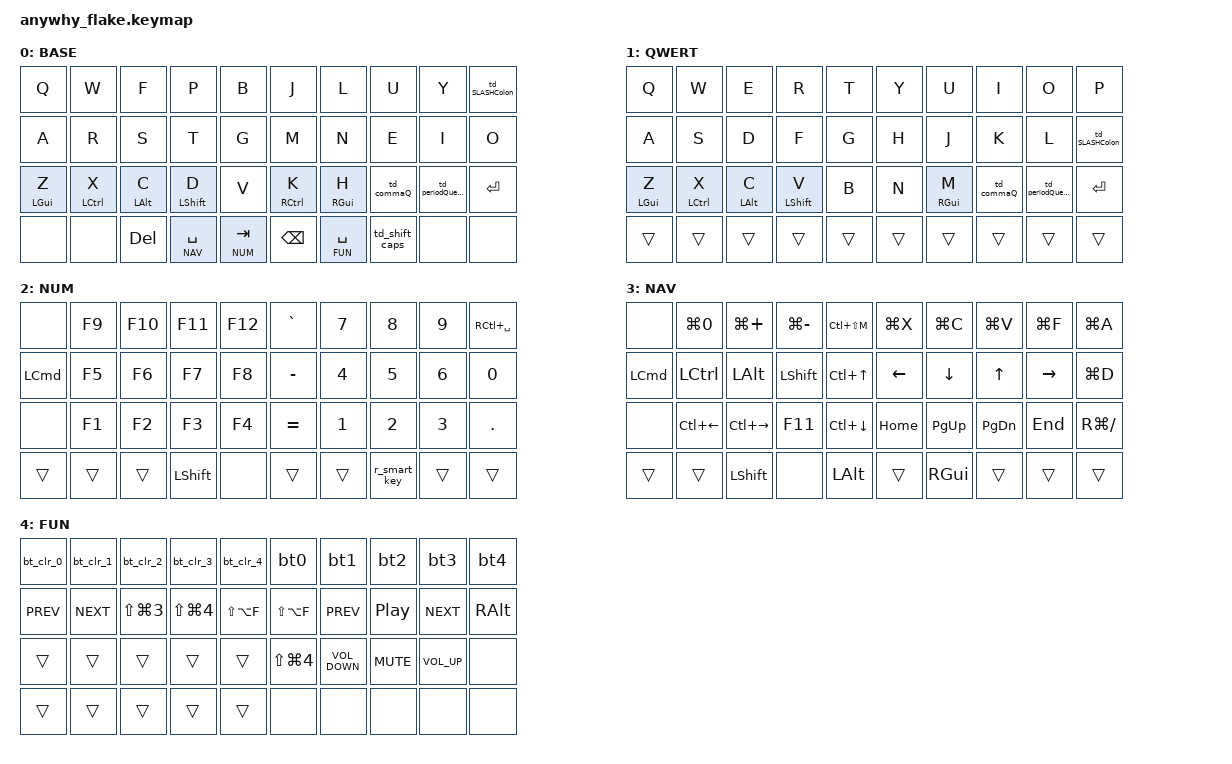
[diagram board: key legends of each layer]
#include <behaviors.dtsi>
#include <dt-bindings/zmk/bt.h>
#include <dt-bindings/zmk/keys.h>

/*                                      58 KEY MATRIX / LAYOUT MAPPING

  ╭────────────────────────────┬────────────────────────────╮ ╭─────────────────────────┬─────────────────────────╮
  │ 12  13  14  15  16  17     │     18  19  20  21  22  23 │ │ LT4 LT3 LT2 LT1 LT0     │     RT0 RT1 RT2 RT3 RT4 │
  │ 24  25  26  27  28  29     │     30  31  32  33  34  35 │ │ LM4 LM3 LM2 LM1 LM0     │     RM0 RM1 RM2 RM3 RM4 │
  │ 36  37  38  39  40  41     │     42  43  44  45  46  47 │ │ LB4 LB3 LB2 LB1 LB0     │     RB0 RB1 RB2 RB3 RB4 │
  ╰───────╮ 48  49  50  51  52 | 53  54  55  56  57 ╭───────╯ ╰ ──╮ LH4 LH3 LH2 LH1 LH0 | RH0 RH1 RH2 RH3 RH4╭─────╯
          ╰────────────────────┴────────────────────╯             ╰─────────────────────┴───────────────────╯            
          
          <0  1  2  3  4  |  5  6  7  8  9 >
        , <10 11 12 13 14 |  15 16 17 18 19>
        , <20 21 22 23 24 |  25 26 27 28 29>
        , <30 31 32 33 34 |  35 36 37 38 39>
                 */

#pragma once

#define LT0  4  // left-top row
#define LT1  3
#define LT2  2
#define LT3  1
#define LT4  0
#define RT0  5  // right-top row
#define RT1  6
#define RT2  7
#define RT3  8
#define RT4  9
#define LM0 14  // left-middle row
#define LM1 13
#define LM2 12
#define LM3 11
#define LM4 10
#define RM0 15  // right-middle row
#define RM1 16
#define RM2 17
#define RM3 18
#define RM4 19
#define LB0 24  // left-bottom row
#define LB1 23
#define LB2 22
#define LB3 21
#define LB4 20
#define RB0 25  // right-bottom row
#define RB1 26
#define RB2 27
#define RB3 28
#define RB4 29
#define LH0 34  // left-thumb row
#define LH1 33
#define LH2 32
#define LH3 31
#define LH4 30
#define RH0 35  // right-thumb row
#define RH1 36
#define RH2 37
#define RH3 38
#define RH4 39
#define XXX &none
#define ___ &trans
#define BASE 0
#define QWERT 1
#define NUM 2
#define NAV 3
#define FUN 4
#define SYM 5

/* ------------------------ general config ----------------------- */

#define QUICK_TAP_MS 175

// smart-layer config

&caps_word {
    // /delete-property/ ignore-modifiers; // mods deactivate, requires PR #1451

    /delete-property/ ignore-numbers;

    continue-list = <BACKSPACE DELETE UNDERSCORE MINUS PLUS N1 ASTERISK SINGLE_QUOTE DOLLAR DOUBLE_QUOTES BACKSLASH SLASH N2 N3 N4 N5 N6 N7 N8 N9 N0>;
};

// key-repeat config

&key_repeat {
    usage-pages = <HID_USAGE_KEY HID_USAGE_CONSUMER>; // repeat all keys
};

// sticky key aka 'one-shot mods'

&sk {
    release-after-ms = <2000>;
    quick-release;
    ignore-modifiers;
};

// soft off

&soft_off {
    hold-time-ms = <5000>; // Only turn off it the key is held for 5 seconds or longer.
};

// default layer-tap config

&lt {
    flavor = "tap-preferred";
    tapping-term-ms = <175>;
    quick-tap-ms = <100>;
    retro-tap;
};

#define KEYS_L LT0 LT1 LT2 LT3 LT4 LM0 LM1 LM2 LM3 LM4 LB0 LB1 LB2 LB3 LB4 // left hand
#define KEYS_R RT0 RT1 RT2 RT3 RT4 RM0 RM1 RM2 RM3 RM4 RB0 RB1 RB2 RB3 RB4 // right hand
#define THUMBS LH4 LH3 LH2 LH1 LH0 RH0 RH1 RH2 RH3 RH4                     // thumbs

// use require-prior-idle-ms for combos

#undef COMBO_HOOK

#define COMBO_TERM_IDLE 80
#define COMBO_TERM_FAST 25
#define COMBO_TERM_SLOW 40

/ {
    combos {
        compatible = "zmk,combos";

        // Left hand vertical combos //
        // Between top and home row

        combo_excl {
            timeout-ms = <COMBO_TERM_SLOW>;
            bindings = <&kp EXCL>;
            key-positions = <13 12>;
            layers = <QWERT BASE NAV NUM>;
            require-prior-idle-ms = <COMBO_TERM_IDLE>;
            slow-release;
        };

        combo_at {
            timeout-ms = <COMBO_TERM_SLOW>;
            bindings = <&kp AT>;
            key-positions = <12 11>;
            layers = <QWERT BASE NAV NUM>;
            require-prior-idle-ms = <COMBO_TERM_IDLE>;
            slow-release;
        };

        combo_hash {
            timeout-ms = <COMBO_TERM_SLOW>;
            bindings = <&kp HASH>;
            key-positions = <2 1>;
            layers = <QWERT BASE NAV NUM>;
            require-prior-idle-ms = <COMBO_TERM_IDLE>;
            slow-release;
        };

        combo_dllr {
            timeout-ms = <COMBO_TERM_SLOW>;
            bindings = <&kp DLLR>;
            key-positions = <3 2>;
            layers = <QWERT BASE NAV NUM>;
            require-prior-idle-ms = <COMBO_TERM_IDLE>;
            slow-release;
        };

        combo_prcnt {
            timeout-ms = <COMBO_TERM_SLOW>;
            bindings = <&kp PRCNT>;
            key-positions = <27 26>;
            layers = <0>;
            require-prior-idle-ms = <COMBO_TERM_IDLE>;
            slow-release;
        };

        combo_squot {
            timeout-ms = <COMBO_TERM_SLOW>;
            bindings = <&quoteQuote>;
            key-positions = <14 13>;
            layers = <0 1>;
            require-prior-idle-ms = <COMBO_TERM_IDLE>;
            slow-release;
        };

        // Between home and bottom row

        combo_grave {
            timeout-ms = <COMBO_TERM_SLOW>;
            bindings = <&reverse_tilde>;
            key-positions = <23 24>;
            layers = <QWERT BASE NAV NUM>;
            require-prior-idle-ms = <COMBO_TERM_IDLE>;
            slow-release;
        };

        combo_bslh {
            timeout-ms = <COMBO_TERM_SLOW>;
            bindings = <&kp BSLH>;
            key-positions = <5 6>;
            layers = <QWERT BASE NAV NUM>;
            require-prior-idle-ms = <COMBO_TERM_IDLE>;
            slow-release;
        };

        combo_equal {
            timeout-ms = <COMBO_TERM_SLOW>;
            bindings = <&kp EQUAL>;
            key-positions = <4 3>;
            layers = <QWERT BASE NAV NUM>;
            require-prior-idle-ms = <COMBO_TERM_IDLE>;
            slow-release;
        };

        combo_tilde {
            timeout-ms = <COMBO_TERM_SLOW>;
            bindings = <&kp TILDE>;
            key-positions = <24 23>;
            layers = <QWERT BASE NAV NUM>;
            require-prior-idle-ms = <COMBO_TERM_IDLE>;
            slow-release;
        };

        // Horizontal combos

        combo_cut {
            timeout-ms = <COMBO_TERM_FAST>;
            bindings = <&kp LG(X)>;
            key-positions = <21 23>;
            layers = <QWERT BASE NAV NUM>;
            require-prior-idle-ms = <COMBO_TERM_IDLE>;
            slow-release;
        };

        combo_paste {
            timeout-ms = <COMBO_TERM_FAST>;
            bindings = <&kp LG(V)>;
            key-positions = <23 22>;
            layers = <QWERT BASE NAV NUM>;
            require-prior-idle-ms = <COMBO_TERM_IDLE>;
            slow-release;
        };

        combo_copy {
            timeout-ms = <COMBO_TERM_FAST>;
            bindings = <&kp LG(C)>;
            key-positions = <21 22>;
            layers = <QWERT BASE NAV NUM>;
            require-prior-idle-ms = <COMBO_TERM_IDLE>;
            slow-release;
        };

        combo_undo {
            timeout-ms = <COMBO_TERM_FAST>;
            bindings = <&kp LG(Z)>;
            key-positions = <20 21>;
            layers = <QWERT BASE NAV NUM>;
            require-prior-idle-ms = <COMBO_TERM_IDLE>;
            slow-release;
        };

        // Right hand vertical combos
        // Between top and home row

        combo_caret {
            timeout-ms = <COMBO_TERM_SLOW>;
            bindings = <&kp CARET>;
            key-positions = <7 6>;
            layers = <2>;
            require-prior-idle-ms = <COMBO_TERM_IDLE>;
            slow-release;
        };

        combo_plus {
            timeout-ms = <COMBO_TERM_SLOW>;
            bindings = <&kp PLUS>;
            key-positions = <16 17>;
            layers = <2>;
            require-prior-idle-ms = <COMBO_TERM_IDLE>;
            slow-release;
        };

        combo_star {
            timeout-ms = <COMBO_TERM_SLOW>;
            bindings = <&kp STAR>;
            key-positions = <26 27>;
            layers = <2>;
            require-prior-idle-ms = <COMBO_TERM_IDLE>;
            slow-release;
        };

        combo_amps {
            timeout-ms = <COMBO_TERM_SLOW>;
            bindings = <&and_or>;
            key-positions = <15 16>;
            layers = <QWERT BASE>;
            require-prior-idle-ms = <COMBO_TERM_IDLE>;
            slow-release;
        };

        // Between home and bottom row

        combo_under {
            timeout-ms = <COMBO_TERM_SLOW>;
            bindings = <&kp MINUS>;
            key-positions = <25 26>;
            layers = <0>;
            require-prior-idle-ms = <COMBO_TERM_IDLE>;
            slow-release;
        };

        combo_minus {
            timeout-ms = <COMBO_TERM_SLOW>;
            bindings = <&kp MINUS>;
            key-positions = <17 18>;
            layers = <2>;
            require-prior-idle-ms = <COMBO_TERM_IDLE>;
            slow-release;
        };

        combo_fslh {
            timeout-ms = <COMBO_TERM_SLOW>;
            bindings = <&kp FSLH>;
            key-positions = <27 28>;
            layers = <2>;
            require-prior-idle-ms = <COMBO_TERM_IDLE>;
            slow-release;
        };

        // Horizontal combos

        combo_lbkt {
            timeout-ms = <COMBO_TERM_FAST>;
            bindings = <&kp LBKT>;
            key-positions = <6 7>;
            layers = <QWERT BASE>;
            require-prior-idle-ms = <COMBO_TERM_IDLE>;
            slow-release;
        };

        combo_rbkt {
            timeout-ms = <COMBO_TERM_FAST>;
            bindings = <&kp RBKT>;
            key-positions = <7 8>;
            layers = <QWERT BASE>;
            require-prior-idle-ms = <COMBO_TERM_IDLE>;
            slow-release;
        };

        combo_lpar {
            timeout-ms = <COMBO_TERM_FAST>;
            bindings = <&kp LPAR>;
            key-positions = <16 17>;
            layers = <QWERT BASE>;
            require-prior-idle-ms = <COMBO_TERM_IDLE>;
            slow-release;
        };

        combo_rpar {
            timeout-ms = <COMBO_TERM_FAST>;
            bindings = <&kp RPAR>;
            key-positions = <17 18>;
            layers = <QWERT BASE>;
            require-prior-idle-ms = <COMBO_TERM_IDLE>;
            slow-release;
        };

        combo_semi {
            timeout-ms = <COMBO_TERM_FAST>;
            bindings = <&kp SEMI>;
            key-positions = <28 27>;
            layers = <0 1>;
            require-prior-idle-ms = <COMBO_TERM_IDLE>;
            slow-release;
        };

        // Horizontal function combos

        combo_esc {
            timeout-ms = <COMBO_TERM_FAST>;
            bindings = <&kp ESC>;
            key-positions = <1 0>;
            layers = <QWERT BASE NAV NUM>;
            require-prior-idle-ms = <COMBO_TERM_IDLE>;
            slow-release;
        };

        // caps word on index fingers

        combo_capsw {
            timeout-ms = <90>;
            bindings = <&caps_word>;
            key-positions = <23 26>;
            layers = <QWERT BASE NAV NUM>;
            require-prior-idle-ms = <COMBO_TERM_IDLE>;
            slow-release;
        };

        bt_clr_r {
            bindings = <&bt BT_CLR_ALL>;
            key-positions = <9 19 29>;
            layers = <FUN>;
            require-prior-idle-ms = <COMBO_TERM_IDLE>;
        };

        bt_clr_l {
            bindings = <&bt BT_CLR_ALL>;
            key-positions = <0 10 20>;
            layers = <FUN>;
            require-prior-idle-ms = <COMBO_TERM_IDLE>;
        };

        bt_c_r {
            bindings = <&bt BT_CLR>;
            key-positions = <8 18 28>;
            layers = <FUN>;
            require-prior-idle-ms = <COMBO_TERM_IDLE>;
        };

        bt_c_l {
            bindings = <&bt BT_CLR>;
            key-positions = <1 11 21>;
            layers = <FUN>;
            require-prior-idle-ms = <COMBO_TERM_IDLE>;
        };
    };

    macros {
        bt_clr_0: bt_clr_0 {
            compatible = "zmk,behavior-macro";
            #binding-cells = <0>;
            bindings = <&bt BT_SEL 0 &bt BT_CLR>;
            display-name = "BT_CLR_0";
        };

        bt_clr_1: bt_clr_1 {
            compatible = "zmk,behavior-macro";
            #binding-cells = <0>;
            bindings = <&bt BT_SEL 1 &bt BT_CLR>;
            display-name = "BT_CLR_1";
        };

        bt_clr_2: bt_clr_2 {
            compatible = "zmk,behavior-macro";
            #binding-cells = <0>;
            bindings = <&bt BT_SEL 2 &bt BT_CLR>;
            display-name = "BT_CLR_2";
        };

        bt_clr_3: bt_clr_3 {
            compatible = "zmk,behavior-macro";
            #binding-cells = <0>;
            bindings = <&bt BT_SEL 3 &bt BT_CLR>;
            display-name = "BT_CLR_3";
        };

        bt_clr_4: bt_clr_4 {
            compatible = "zmk,behavior-macro";
            #binding-cells = <0>;
            bindings = <&bt BT_SEL 4 &bt BT_CLR>;
            display-name = "BT_CLR_4";
        };

        // Macro to clear the entire line

        mc_clear_line: mc_clear_line {
            compatible = "zmk,behavior-macro";
            #binding-cells = <0>;
            bindings = <&kp HOME &kp LS(END) &kp BKSP>;           // Delete selection
        };

        macro_closetab: macro_closetab {
            compatible = "zmk,behavior-macro";
            #binding-cells = <0>;
            bindings =
                <&macro_press>,
                <&kp LCTRL>,
                <&macro_tap>,
                <&kp F4>,
                <&macro_release>,
                <&kp LCTRL>;
        };

        macro_lasttab: macro_lasttab {
            compatible = "zmk,behavior-macro";
            #binding-cells = <0>;
            bindings =
                <&macro_press>,
                <&kp LCTRL>,
                <&macro_tap>,
                <&kp LS(T)>,
                <&macro_release>,
                <&kp LCTRL>;
        };

        // macros for R shortcuts

        r_assign: r_assign {
            compatible = "zmk,behavior-macro";
            #binding-cells = <0>;
            wait-ms = <30>;
            tap-ms = <30>;
            bindings = <&kp SPACE &kp LT &kp MINUS &kp SPACE>;
        };

        r_pipe_native: r_pipe_native {
            compatible = "zmk,behavior-macro";
            #binding-cells = <0>;
            wait-ms = <30>;
            tap-ms = <30>;
            bindings = <&kp SPACE &kp PIPE &kp GT &kp SPACE>;
        };

        r_pipe_mag: r_pipe_mag {
            compatible = "zmk,behavior-macro";
            #binding-cells = <0>;
            wait-ms = <30>;
            tap-ms = <30>;
            bindings = <&kp SPACE &kp PRCNT &kp GT &kp PRCNT &kp SPACE>;
        };
    };

    behaviors {
        /**
         * bt0-bt4: Bluetooth Profile 3 Selector with Modifier Morph
         * 
         * This behavior creates a dual-function key for Bluetooth profile management:
         * - Normal press: Selects and connects to Bluetooth profile 0-4
         * - Shift + press: Clears/removes Bluetooth profile 0-4
         * 
         * The mod-morph behavior allows different actions based on whether
         * shift modifiers (left or right) are held during activation.
         * 
         * Properties:
         * - compatible: Uses ZMK's mod-morph behavior driver
         * - bindings: Primary action (e.g., select BT profile 3) and morphed action (e.g., lear profile 3)
         * - #binding-cells: Set to 0 (no parameters required when invoking this behavior)
         * - mods: Triggers morphed behavior when LSHIFT or RSHIFT is held
         */

        bt0: bt0 {
            compatible = "zmk,behavior-mod-morph";
            display-name = "BT0";
            bindings = <&bt BT_SEL 0>, <&bt_clr_0>;

            #binding-cells = <0>;
            mods = <(MOD_LSFT|MOD_RSFT)>;
        };

        bt1: bt1 {
            compatible = "zmk,behavior-mod-morph";
            display-name = "BT1";
            bindings = <&bt BT_SEL 1>, <&bt_clr_1>;

            #binding-cells = <0>;
            mods = <(MOD_LSFT|MOD_RSFT)>;
        };

        bt2: bt2 {
            compatible = "zmk,behavior-mod-morph";
            display-name = "BT2";
            bindings = <&bt BT_SEL 2>, <&bt_clr_2>;

            #binding-cells = <0>;
            mods = <(MOD_LSFT|MOD_RSFT)>;
        };

        bt3: bt3 {
            compatible = "zmk,behavior-mod-morph";
            display-name = "BT3";
            bindings = <&bt BT_SEL 3>, <&bt_clr_3>;

            #binding-cells = <0>;
            mods = <(MOD_LSFT|MOD_RSFT)>;
        };

        bt4: bt4 {
            compatible = "zmk,behavior-mod-morph";
            display-name = "BT4";
            bindings = <&bt BT_SEL 4>, <&bt_clr_4>;

            #binding-cells = <0>;
            mods = <(MOD_LSFT|MOD_RSFT)>;
        };

        td_bs_word_line: tap_dance_backspace {
            compatible = "zmk,behavior-tap-dance";
            display-name = "TD_BS_WORD_LINE";
            #binding-cells = <0>;
            tapping-term-ms = <190>;    // Slightly longer to allow for 3 taps
            bindings =
                <&kp BACKSPACE>,
                <&kp LA(BACKSPACE)>,
                <&kp RG(BACKSPACE)>;

            // 3 Taps: Clear Line Macro
        };

        r_smart_key: r_smart_key {
            compatible = "zmk,behavior-mod-morph";
            #binding-cells = <0>;
            bindings = <&r_assign>, <&r_pipe_native>;

            mods = <(MOD_LSFT|MOD_RSFT)>;
        };

        // 1. Press hml key.
        // 2. If a trigger key is pressed or released while held -> choose hold immediately.
        // 3. Else if released within 200 ms with no trigger activity -> tap.
        // 4. Else if 200 ms elapses with no trigger -> hold.
        // 5. Quick-tap may force tap on rapid repeats.
        // 6. prior idle time must be > 50ms at press to allow hold (prevent accidental holds while typing).
        // 7. hold-trigger-on-release: releasing a trigger key also forces hold (improves roll handling).

        hml: hml {
            compatible = "zmk,behavior-hold-tap";
            display-name = "Mod-Tap";
            #binding-cells = <2>;
            flavor = "balanced";
            tapping-term-ms = <175>;        // optional tighter term so holds trigger sooner
            quick-tap-ms = <150>;
            require-prior-idle-ms = <100>;  // allows faster hold triggering after idle
            bindings = <&kp>, <&kp>;

            hold-trigger-key-positions = <5 6 7 8 9 19 29 28 27 17 18 26 16 15 25 35 36 37>;        // force hold as soon as a right-hand key is released
            hold-trigger-on-release;
        };

        hmr: hmr {
            compatible = "zmk,behavior-hold-tap";
            display-name = "Mod-Tap";
            #binding-cells = <2>;
            flavor = "balanced";
            tapping-term-ms = <175>;        // optional tighter term so holds trigger sooner
            quick-tap-ms = <150>;
            require-prior-idle-ms = <100>;  // allows faster hold triggering after idle
            bindings = <&kp>, <&kp>;

            hold-trigger-key-positions = <0 1 2 3 4 10 11 12 13 14 20 21 22 23 24 33 34 32>;        // force hold as soon as a right-hand key is released
            hold-trigger-on-release;
        };

        hml_shift: hml_shift {
            compatible = "zmk,behavior-hold-tap";
            display-name = "Mod-Tap";
            #binding-cells = <2>;
            flavor = "balanced";
            tapping-term-ms = <200>;
            quick-tap-ms = <175>;
            require-prior-idle-ms = <120>;  // Increased from 80ms
            bindings = <&kp>, <&kp>;

            hold-trigger-key-positions = <5 6 7 8 9 19 29 28 27 17 18 26 16 15 25 35 36 37>;
            hold-trigger-on-release;
        };

        hmr_shift: hmr_shift {
            compatible = "zmk,behavior-hold-tap";
            display-name = "Mod-Tap";
            #binding-cells = <2>;
            flavor = "balanced";
            tapping-term-ms = <200>;
            quick-tap-ms = <175>;
            require-prior-idle-ms = <120>;  // Increased from 80ms
            bindings = <&kp>, <&kp>;

            hold-trigger-key-positions = <0 1 2 3 4 10 11 12 13 14 20 21 22 23 24 33 34 32>;
            hold-trigger-on-release;
        };

        hmr_command: hmr_command {
            compatible = "zmk,behavior-hold-tap";
            display-name = "Right Command";
            #binding-cells = <2>;
            flavor = "balanced";
            tapping-term-ms = <200>;
            quick-tap-ms = <150>;
            require-prior-idle-ms = <120>;
            bindings = <&kp>, <&kp>;

            hold-trigger-key-positions = <
0 1 2 3 4
                 10 11 12 13 14
                 20 21 22 23 24
                 30 31 32 33 3
            >;

            hold-trigger-on-release;
        };

        hml_pinky: hml_pinky {
            compatible = "zmk,behavior-hold-tap";
            display-name = "Pinky-Mod-Tap";
            #binding-cells = <2>;
            flavor = "balanced";
            tapping-term-ms = <240>;        // Increased from 175ms to give your pinky more time to lift off
            quick-tap-ms = <150>;
            require-prior-idle-ms = <150>;  // Increased from 100ms to stop accidental triggers during fast typing
            bindings = <&kp>, <&kp>;

            hold-trigger-key-positions = <5 6 7 8 9 19 29 28 27 17 18 26 16 15 25 35 36 37>;
            hold-trigger-on-release;
        };

        /*
        * Non-Positional Homerow Mods
        * Used for &mm_grescm_gui behavior on left hand.
        *
        * Usage: &hm LSHFT T
        * Tap: T
        * Tap-Tap-Hold: Repeat T
        * Hold: LSHIFT
        */

        tm: thumb_mods {
            compatible = "zmk,behavior-hold-tap";
            display-name = "THUMB_MODS";
            #binding-cells = <2>;
            bindings = <&kp>, <&kp>;

            flavor = "balanced";
            tapping-term-ms = <280>;
            quick-tap-ms = <175>;
            retro-tap; // use tap when key is used without another key
        };

        td_commaQ: td_commaQ {
            compatible = "zmk,behavior-tap-dance";
            display-name = "TD_COMMAQ";
            #binding-cells = <0>;
            tapping-term-ms = <220>;
            bindings = <&kp COMMA>, <&kp SQT>;
        };

        td_periodQuestion: td_periodQuestion {
            compatible = "zmk,behavior-tap-dance";
            display-name = "TD_PERIODQUESTION";
            #binding-cells = <0>;
            tapping-term-ms = <220>;
            bindings = <&kp DOT>, <&kp QUESTION>;
        };

        td_SLASHColon: td_SLASHColon {
            compatible = "zmk,behavior-tap-dance";
            display-name = "TD_SLASHCOLON";
            #binding-cells = <0>;
            tapping-term-ms = <220>;
            bindings = <&kp SLASH>, <&kp COLON>;
        };

        td_quotColon: td_quotColon {
            compatible = "zmk,behavior-tap-dance";
            display-name = "TD_QUOTCOLON";
            #binding-cells = <0>;
            tapping-term-ms = <220>;
            bindings = <&kp SQT>, <&kp COLON>;
        };

        td_oSQT: td_oSQT {
            compatible = "zmk,behavior-tap-dance";
            display-name = "TD_OSQT";
            #binding-cells = <0>;
            tapping-term-ms = <140>;
            bindings = <&kp O>, <&kp SQT>;
        };

        td_gColon: td_gColon {
            compatible = "zmk,behavior-tap-dance";
            display-name = "TD_GColon";
            #binding-cells = <0>;
            tapping-term-ms = <140>;
            bindings = <&kp G>, <&kp COLON>;
        };

        td_shift_caps: tap_dance_shift_caps {
            compatible = "zmk,behavior-tap-dance";
            display-name = "TD_SHIFT_CAPS";
            #binding-cells = <0>;
            tapping-term-ms = <200>;
            bindings = <&sk RSHIFT>, <&caps_word>;
        };

        reverse_tilde: reverse_tilde {
            compatible = "zmk,behavior-mod-morph";
            #binding-cells = <0>;
            bindings = <&kp TILDE>, <&kp GRAVE>;

            mods = <(MOD_LSFT|MOD_RSFT)>;
            display-name = "REVERSE_TILDE";
        };

        and_or: and_or {
            compatible = "zmk,behavior-mod-morph";
            #binding-cells = <0>;
            bindings = <&kp AMPERSAND>, <&kp PIPE>;

            mods = <(MOD_LSFT|MOD_RSFT)>;
            display-name = "AND_OR";
        };

        quoteQuote: quoteQuote {
            compatible = "zmk,behavior-mod-morph";
            #binding-cells = <0>;
            bindings = <&kp DOUBLE_QUOTES>, <&kp SINGLE_QUOTE>;

            mods = <(MOD_LSFT|MOD_RSFT)>;
            display-name = "QUOTEQUOTE";
        };
    };

    keymap {
        compatible = "zmk,keymap";

        // ▄▄▄▄▄▄▄▄▄▄▄▄▄▄▄▄▄▄▄▄▄▄▄▄▄▄▄▄▄▄▄▄▄▄▄▄▄▄▄▄▄▄▄▄▄▄▄▄▄▄▄▄▄▄▄▄▄▄▄▄▄▄▄▄▄▄▄▄▄▄▄▄▄▄▄▄▄▄▄▄▄▄▄▄▄▄▄▄▄▄▄▄▄▄▄▄▄▄▄▄▄▄▄▄▄▄▄▄▄▄▄▄▄▄▄▄▄▄▄▄▄▄▄▄▄▄▄▄▄▄▄▄▄▄▄▄▄▄▄▄▄▄

        base_layer {
            display-name = "BASE";
            bindings = <
  &kp Q              &kp W         &kp F        &kp P                &kp B          &kp J                 &kp L                &kp U           &kp Y               &td_SLASHColon
  &kp A              &kp R         &kp S        &kp T                &kp G          &kp M                 &kp N                &kp E           &kp I               &kp O
  &hml_pinky LGUI Z  &hml LCTRL X  &hml LALT C  &hml_shift LSHIFT D  &kp V          &hmr_command RCTRL K  &hmr_command RGUI H  &td_commaQ      &td_periodQuestion  &kp RET
  &none              &none         &kp DELETE   &lt NAV SPACE        &lt NUM TAB    &kp BACKSPACE         &lt FUN SPACE        &td_shift_caps  &none               &none
            >;
        };

        // ▄▄▄▄▄▄▄▄▄▄▄▄▄▄▄▄▄▄▄▄▄▄▄▄▄▄▄▄▄▄▄▄▄▄▄▄▄▄▄▄▄▄▄▄▄▄▄▄▄▄▄▄▄▄▄▄▄▄▄▄▄▄▄▄▄▄▄▄▄▄▄▄▄▄▄▄▄▄▄▄▄▄▄▄▄▄▄▄▄▄▄▄▄▄▄▄▄▄▄▄▄▄▄▄▄▄▄▄▄▄▄▄▄▄▄▄▄▄▄▄▄▄▄▄▄▄▄▄▄▄▄▄▄▄▄▄▄▄▄▄▄▄

        QWERT_layer {
            display-name = "QWERT";
            bindings = <
  &kp Q              &kp W         &kp E        &kp R                &kp T     &kp Y   &kp U                &kp I       &kp O               &kp P
  &kp A              &kp S         &kp D        &kp F                &kp G     &kp H   &kp J                &kp K       &kp L               &td_SLASHColon
  &hml_pinky LGUI Z  &hml LCTRL X  &hml LALT C  &hml_shift LSHIFT V  &kp B     &kp N   &hmr_command RGUI M  &td_commaQ  &td_periodQuestion  &kp RETURN
  &trans             &trans        &trans       &trans               &trans    &trans  &trans               &trans      &trans              &trans
            >;
        };

        // ▄▄▄▄▄▄▄▄▄▄▄▄▄▄▄▄▄▄▄▄▄▄▄▄▄▄▄▄▄▄▄▄▄▄▄▄▄▄▄▄▄▄▄▄▄▄▄▄▄▄▄▄▄▄▄▄▄▄▄▄▄▄▄▄▄▄▄▄▄▄▄▄▄▄▄▄▄▄▄▄▄▄▄▄▄▄▄▄▄▄▄▄▄▄▄▄▄▄▄▄▄▄▄▄▄▄▄▄▄▄▄▄▄▄▄▄▄▄▄▄▄▄▄▄▄▄▄▄▄▄▄▄▄▄▄▄▄▄▄▄▄▄

        num_layer {
            display-name = "NUM";
            bindings = <
  &none     &kp F9  &kp F10  &kp F11    &kp F12    &kp GRAVE  &kp N7  &kp N8        &kp N9  &kp RC(SPACE)
  &kp LCMD  &kp F5  &kp F6   &kp F7     &kp F8     &kp MINUS  &kp N4  &kp N5        &kp N6  &kp N0
  &none     &kp F1  &kp F2   &kp F3     &kp F4     &kp EQUAL  &kp N1  &kp N2        &kp N3  &kp DOT
  &trans    &trans  &trans   &kp LSHFT  &none      &trans     &trans  &r_smart_key  &trans  &trans
            >;
        };

        // ▄▄▄▄▄▄▄▄▄▄▄▄▄▄▄▄▄▄▄▄▄▄▄▄▄▄▄▄▄▄▄▄▄▄▄▄▄▄▄▄▄▄▄▄▄▄▄▄▄▄▄▄▄▄▄▄▄▄▄▄▄▄▄▄▄▄▄▄▄▄▄▄▄▄▄▄▄▄▄▄▄▄▄▄▄▄▄▄▄▄▄▄▄▄▄▄▄▄▄▄▄▄▄▄▄▄▄▄▄▄▄▄▄▄▄▄▄▄▄▄▄▄▄▄▄

        nav_layer {
            display-name = "NAV";
            bindings = <
  &none     &kp LG(N0)    &kp LG(PLUS)   &kp LG(MINUS)  &kp LC(LS(M))       &kp LG(X)       &kp LG(C)  &kp LG(V)      &kp LG(F)  &kp LG(A)
  &kp LCMD  &kp LCTRL     &kp LEFT_ALT   &kp LSHIFT     &kp LC(UP_ARROW)    &kp LEFT_ARROW  &kp DOWN   &kp UP         &kp RIGHT  &kp LG(D)
  &none     &kp LC(LEFT)  &kp LC(RIGHT)  &kp F11        &kp LC(DOWN)        &kp HOME        &kp PG_UP  &kp PAGE_DOWN  &kp END    &kp RG(SLASH)
  &trans    &trans        &kp LSHFT      &none          &kp LEFT_ALT        &trans          &kp RGUI   &trans         &trans     &trans
            >;
        };

        //▄▄▄▄▄▄▄▄▄▄▄▄▄▄▄▄▄▄▄▄▄▄▄▄▄▄▄▄▄▄▄▄▄▄▄▄▄▄▄▄▄▄▄▄▄▄▄▄▄▄▄▄▄▄▄▄▄▄▄▄▄▄▄▄▄▄▄▄▄▄▄▄▄▄▄▄▄▄▄▄▄▄▄▄▄▄▄▄▄▄▄▄▄▄▄▄▄▄▄▄▄▄▄▄▄▄▄▄▄▄▄▄▄▄▄▄▄▄▄▄▄▄▄▄▄

        fun_layer {
            display-name = "FUN";
            bindings = <
  &bt_clr_0   &bt_clr_1   &bt_clr_2       &bt_clr_3       &bt_clr_4        &bt0            &bt1               &bt2              &bt3             &bt4
  &kp C_PREV  &kp C_NEXT  &kp LS(LG(N3))  &kp LS(LG(N4))  &kp LS(LA(F))    &kp LS(LA(F))   &kp C_PREV         &kp C_PLAY_PAUSE  &kp C_NEXT       &kp RALT
  &trans      &trans      &trans          &trans          &trans           &kp LS(LG(N4))  &kp C_VOLUME_DOWN  &kp C_MUTE        &kp C_VOLUME_UP  &none
  &trans      &trans      &trans          &trans          &trans           &none           &none              &none             &none            &none
            >;
        };
    };
};
